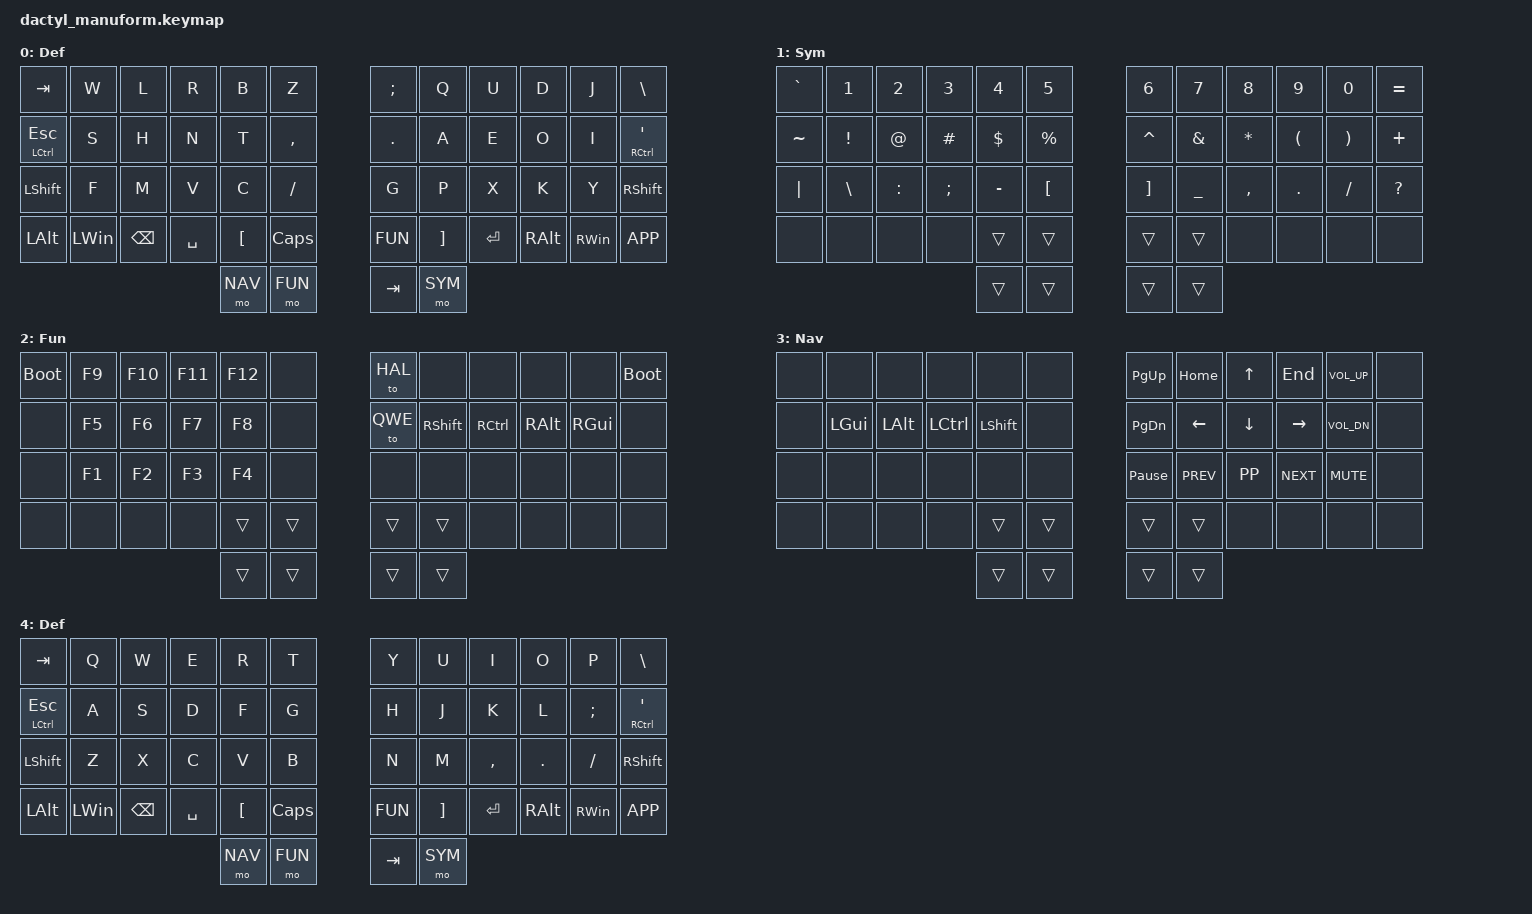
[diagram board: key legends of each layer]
/*
 * Copyright (c) 2020 The ZMK Contributors
 *
 * SPDX-License-Identifier: MIT
 */

#include <behaviors.dtsi>
#include <dt-bindings/zmk/keys.h>
#include <dt-bindings/zmk/bt.h>

#define HAL 0
#define SYM 1
#define FUN 2
#define NAV 3
#define QWE 4

/ {
	keymap {
		compatible = "zmk,keymap";

		default_layer {
			// ----------------------------------------------------------------------------------------------------------------------------------
			// |  TAB  |  W  |  L   |  R   |  B   |  Z   |                                        |  ;   |  Q    |  U    |  D    |   J   |   \  |
			// |  ESC  |  S  |  H   |  N   |  T   |  ,   |                                        |  .   |  A    |  E    |  O    |   I   |   '  |
			// | SHIFT |  F  |  M   |  V   |  C   |  /   |                                        |  G   |  P    |  X    |  K    |   Y   | CTRL |
			//               | LCTL | LWIN |BKSP  | SPC  | LBKT  |  CAPS   |  | L SHIFT | L SHIFT | TAB  | BSPC  | R-ALT | R-ALT |
			//                                           | MO 3  |  MO 2   |  |   RET   |  SPACE  |
			label = "Def";
			bindings = <
				&kp TAB       &kp W  &kp L      &kp R     &kp B     &kp Z                                                      &kp SEMI &kp Q     &kp U      &kp D     &kp J     &kp BSLH
				&mt LCTRL ESC &kp S  &kp H      &kp N     &kp T     &kp COMMA                                                  &kp DOT  &kp A     &kp E      &kp O     &kp I     &mt RCTL SQT
				&kp LSHFT     &kp F  &kp M      &kp V     &kp C     &kp FSLH                                                   &kp G    &kp P     &kp X      &kp K     &kp Y     &kp RSHIFT
							         &kp LALT   &kp LWIN  &kp BSPC  &kp SPACE  &kp LBKT  &kp CAPS         &kp FUN    &kp RBKT  &kp RET  &kp RALT  &kp RWIN   &kp K_APP
														     			 	   &mo NAV   &mo FUN          &kp TAB    &mo SYM   
			>;
		};

		sym_layer {
			// ----------------------------------------------------------------------------------------------------------------------------------
			// | ` | 1 | 2 | 3 | 4 | 5 |                  | 6 | 7 | 8 | 9 | 0 | = |
		    // | ~ | ! | @ | # | $ | % |                  | ^ | & | * | ( | ) | + |
			// | | | \ | : | ; | - | [ |                  | ] | _ | , | . | / | ? |
			//         | - | - | - | - | - | - |  | - | - | - | - | - | - |
			//                         | - | - |  | - | - |
			label = "Sym";
			bindings = <
				&kp GRAVE &kp N1     &kp N2      &kp N3      &kp N4      &kp N5                                            &kp N6     &kp N7     &kp N8      &kp N9     &kp N0      &kp EQUAL 
				&kp TILDE &kp EXCL   &kp AT      &kp HASH    &kp DLLR    &kp PRCNT                                         &kp CARET  &kp AMPS   &kp STAR    &kp LPAR   &kp RPAR    &kp PLUS 
				&kp PIPE  &kp BSLH   &kp COLON   &kp SEMI    &kp MINUS   &kp LBKT                                          &kp RBKT   &kp UNDER  &kp COMMA   &kp DOT    &kp FSLH    &kp QMARK 
						             &none       &none       &none       &none      &trans   &trans       &trans   &trans  &none      &none      &none       &none 
															                        &trans   &trans       &trans   &trans 
			>;
		};

		fun_layer {
			// ----------------------------------------------------------------------------------------------------------------------------------
			// | - | F9 | F10 | F11 | F12 | - |                  | - | -      | -     | -   | -   | - |
			// | - | F5 | F6  | F7  | F8  | - |                  | - | shift  | ctrl  | alt | gui | - |
			// | - | F1 | F2  | F3  | F4  | - |                  | - | -      | -     | -   | -   | - |
			//          |  -  |  -  |  -  | - | - | - |  | - | - | - | -      | -     | -   |
			//                                | - | - |  | - | - |
			label = "Fun";
			bindings = <
				&bootloader  &kp F9  &kp F10 &kp F11 &kp F12 &none                                          &to HAL  &none      &none      &none     &none      &bootloader 
				&none        &kp F5  &kp F6  &kp F7  &kp F8  &none                                          &to QWE  &kp RSHFT  &kp RCTRL  &kp RALT  &kp RGUI   &none 
				&none        &kp F1  &kp F2  &kp F3  &kp F4  &none                                          &none    &none      &none      &none     &none      &none 
				                     &none   &none   &none   &none   &trans   &trans       &trans   &trans  &none    &none      &none      &none 
				                                                     &trans   &trans       &trans   &trans
			>;
		};

		nav_layer {
			// ----------------------------------------------------------------------------------------------------------------------------------
			// | - | -    | -    | -     | -     | - |                  | PGUP  | HOME | UP   | END   | Vol Up | - |
			// | - | LGUI | LALT | LCTRL | LSHFT | - |                  | PGDN  | LEFT | DN   | RIGHT | Vol Dn | - |
			// | - | -    | -    | -     | -     | - |                  | Pause | Prev | p/p  | Next  | Mute   | - |
			//            | -    | -     | -     | - | - | - |  | - | - | -     | -    | -    | -     |
			//                                       | - | - |  | - | - |
			label = "Nav";
			bindings = <
				&none   &none    &none     &none      &none      &none                                          &kp PG_UP        &kp HOME    &kp UP   &kp END     &kp K_VOL_UP  &none 
				&none   &kp LGUI &kp LALT  &kp LCTRL  &kp LSHFT  &none                                          &kp PG_DN        &kp LEFT    &kp DOWN &kp RIGHT   &kp K_VOL_DN  &none 
				&none   &none    &none     &none      &none      &none                                          &kp PAUSE_BREAK  &kp K_PREV  &kp K_PP &kp K_NEXT  &kp K_MUTE    &none 
				                 &none     &none      &none      &none   &trans   &trans       &trans   &trans  &none            &none       &none    &none 
				                                                         &trans   &trans       &trans   &trans
			>;
		};

		qwerty_layer {
			// ----------------------------------------------------------------------------------------------------------------------------------
			// |  TAB  |  W  |  L   |  R   |  B   |  Z   |                                        |  ;   |  Q    |  U    |  D    |   J   |   \  |
			// |  ESC  |  S  |  H   |  N   |  T   |  ,   |                                        |  .   |  A    |  E    |  O    |   I   |   '  |
			// | SHIFT |  F  |  M   |  V   |  C   |  /   |                                        |  G   |  P    |  X    |  K    |   Y   | CTRL |
			//               | LCTL | LWIN |BKSP  | SPC  | LBKT  |  CAPS   |  | L SHIFT | L SHIFT | TAB  | BSPC  | R-ALT | R-ALT |
			//                                           | MO 3  |  MO 2   |  |   RET   |  SPACE  |
			label = "Def";
			bindings = <
				&kp TAB       &kp Q  &kp W      &kp E     &kp R     &kp T                                                      &kp Y    &kp U     &kp I      &kp O     &kp P     &kp BSLH
				&mt LCTRL ESC &kp A  &kp S      &kp D     &kp F     &kp G                                                      &kp H    &kp J     &kp K      &kp L     &kp SEMI  &mt RCTL SQT
				&kp LSHFT     &kp Z  &kp X      &kp C     &kp V     &kp B                                                      &kp N    &kp M     &kp COMMA  &kp DOT   &kp FSLH  &kp RSHIFT
							         &kp LALT   &kp LWIN  &kp BSPC  &kp SPACE  &kp LBKT  &kp CAPS         &kp FUN    &kp RBKT  &kp RET  &kp RALT  &kp RWIN   &kp K_APP
														     			 	   &mo NAV   &mo FUN          &kp TAB    &mo SYM   
			>;
		};

	};
};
